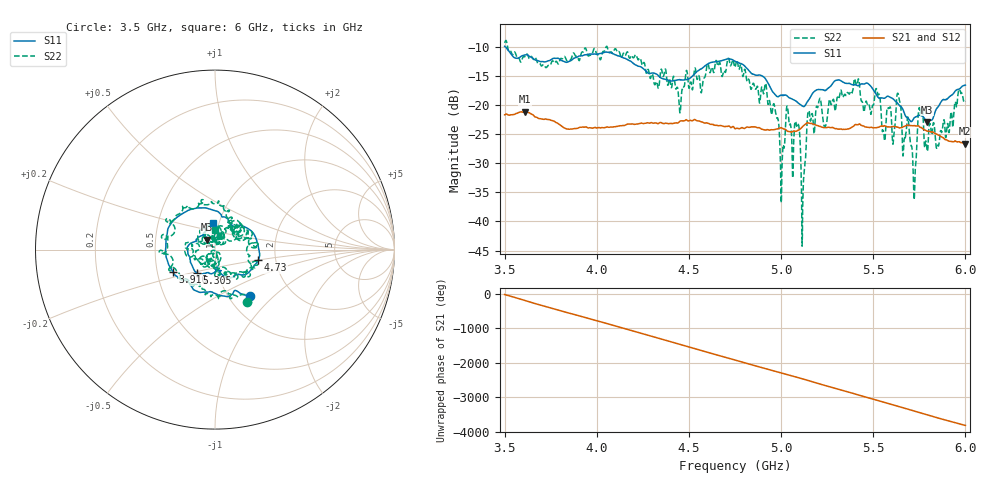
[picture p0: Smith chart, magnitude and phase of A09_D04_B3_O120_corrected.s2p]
! Created with skrf 1.9.0 (http://scikit-rf.org).
# Hz S RI R 50.0
!freq ReS11 ImS11 ReS21 ImS21 ReS12 ImS12 ReS22 ImS22
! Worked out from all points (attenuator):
!   1601 points, 3.5 GHz to 6 GHz, reference 50 ohm
!   highest |S21| = -21.14 dB at 3.609 GHz (marker M1); lowest = -26.6 dB at 5.997 GHz (marker M2)
!   lowest |S11| = -22.9 dB at 5.791 GHz (marker M3), VSWR 1.15, Z = 45.4 + j5.1 ohm
!   |S11| at or under -10 dB: 3.505 GHz to end of sweep
!   |S22| runs from -44.3 to -8.9 dB; largest |S21 - S12| = 0.0011
!   S11 on the Smith chart (normalised r, x): 3.5 GHz: 1.25, -0.72; 3.916 GHz: 0.60, -0.16; 4.73 GHz: 1.62, -0.20; 5.305 GHz: 0.79, -0.21; 6 GHz: 0.94, +0.29
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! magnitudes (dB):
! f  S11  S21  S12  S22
! 3.5 GHz  -9.9  -21.7  -21.6  -9.3
! 3.609 GHz  -11.4  -21.1  -21.1  -11.7
! 3.916 GHz  -11.5  -23.8  -23.8  -11.1
! 3.917 GHz  -11.5  -23.8  -23.8  -11.0
! 4.334 GHz  -14.9  -23.2  -23.1  -17.1
! 4.73 GHz  -12.1  -23.8  -23.7  -13.0
! 4.75 GHz  -12.4  -24.0  -23.9  -13.5
! 4.969 GHz  -18.2  -24.2  -24.1  -21.0
! 5.006 GHz  -18.3  -24.0  -23.9  -29.4
! 5.034 GHz  -18.5  -24.5  -24.4  -20.3
! 5.088 GHz  -19.5  -24.4  -24.4  -23.3
! 5.119 GHz  -20.2  -23.6  -23.5  -35.6
! 5.147 GHz  -19.2  -23.0  -23.0  -21.3
! 5.167 GHz  -18.2  -23.2  -23.1  -21.5
! 5.305 GHz  -15.7  -24.1  -24.0  -18.7
! 5.584 GHz  -18.5  -23.7  -23.7  -20.5
! 5.639 GHz  -20.0  -23.9  -23.8  -18.6
! 5.722 GHz  -22.2  -23.5  -23.5  -36.3
! 5.755 GHz  -21.7  -23.8  -23.7  -21.1
! 5.791 GHz  -22.9  -24.4  -24.3  -27.2
! 5.997 GHz  -16.6  -26.6  -26.5  -19.4
! 6 GHz  -16.5  -26.6  -26.5  -19.3
